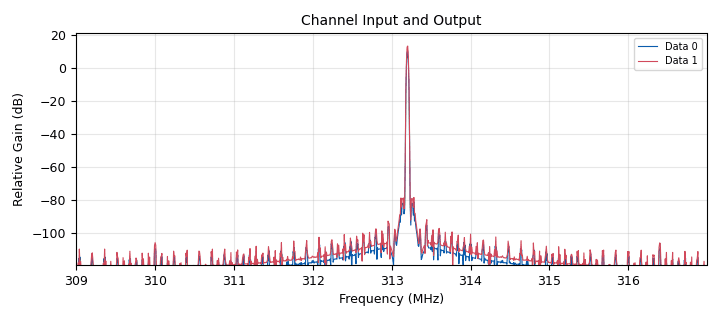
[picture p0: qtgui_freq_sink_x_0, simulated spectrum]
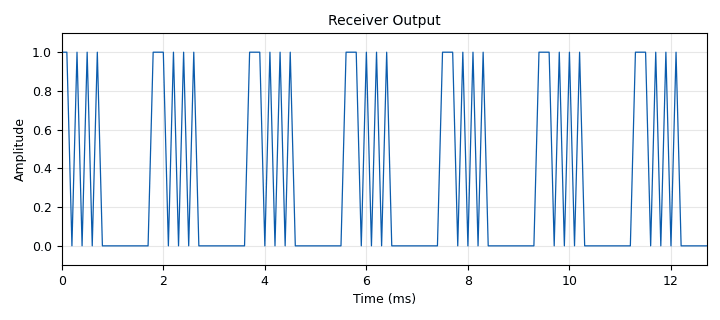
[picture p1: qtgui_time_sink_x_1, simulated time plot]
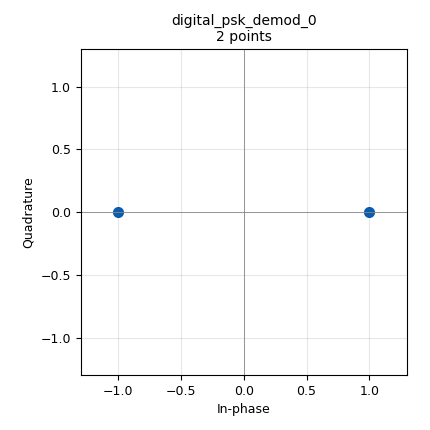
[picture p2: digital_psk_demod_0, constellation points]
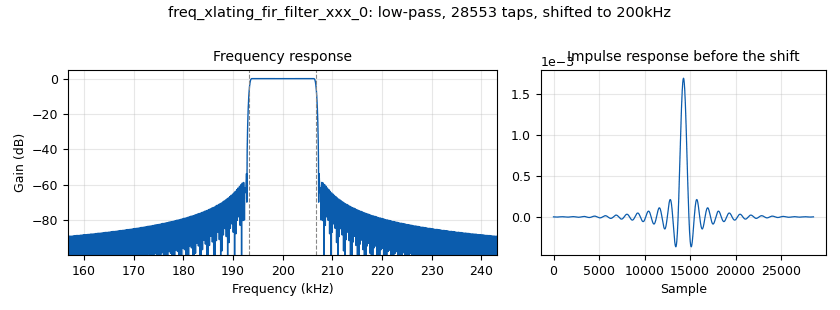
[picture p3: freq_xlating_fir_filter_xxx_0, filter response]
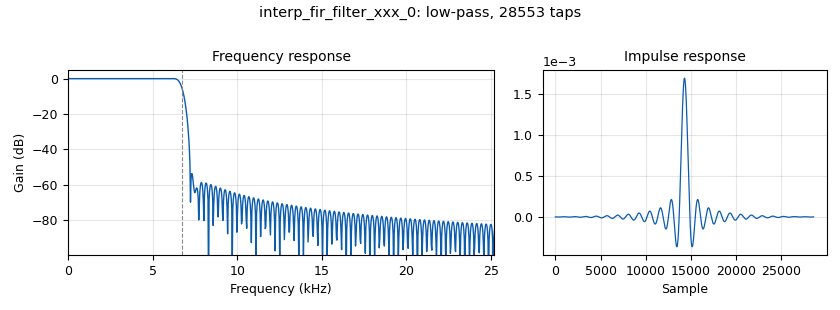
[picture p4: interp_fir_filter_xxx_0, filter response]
<?xml version='1.0' encoding='utf-8'?>
<?grc format='1' created='3.7.11'?>
<flow_graph>
<block>
<key>options</key>
<param><key>id</key><value>top_block</value></param>
<param><key>generate_options</key><value>qt_gui</value></param>
</block>
<block>
<key>variable</key>
<param><key>id</key><value>baseband_freq</value></param>
<param><key>value</key><value>10e3</value></param>
</block>
<block>
<key>variable</key>
<param><key>id</key><value>center_freq</value></param>
<param><key>value</key><value>313e6</value></param>
</block>
<block>
<key>variable</key>
<param><key>id</key><value>filter_cutoff</value></param>
<param><key>value</key><value>1.35*baseband_freq/2</value></param>
</block>
<block>
<key>variable</key>
<param><key>id</key><value>filter_transition</value></param>
<param><key>value</key><value>filter_cutoff*0.1</value></param>
</block>
<block>
<key>variable_qtgui_entry</key>
<param><key>id</key><value>freq</value></param>
<param><key>value</key><value>313.2e6</value></param>
<param><key>type</key><value>real</value></param>
</block>
<block>
<key>variable_qtgui_entry</key>
<param><key>id</key><value>freq_match</value></param>
<param><key>value</key><value>1</value></param>
<param><key>type</key><value>real</value></param>
</block>
<block>
<key>variable_qtgui_range</key>
<param><key>id</key><value>freq_offset</value></param>
<param><key>value</key><value>0</value></param>
<param><key>orient</key><value>Qt.Horizontal</value></param>
<param><key>start</key><value>-1</value></param>
<param><key>step</key><value>0.001</value></param>
<param><key>stop</key><value>1</value></param>
</block>
<block>
<key>variable_qtgui_range</key>
<param><key>id</key><value>noise</value></param>
<param><key>value</key><value>0</value></param>
<param><key>orient</key><value>Qt.Horizontal</value></param>
<param><key>start</key><value>0</value></param>
<param><key>step</key><value>100</value></param>
<param><key>stop</key><value>5000</value></param>
</block>
<block>
<key>variable</key>
<param><key>id</key><value>num_phase</value></param>
<param><key>value</key><value>2</value></param>
</block>
<block>
<key>variable</key>
<param><key>id</key><value>samp_per_symbol</value></param>
<param><key>value</key><value>8</value></param>
</block>
<block>
<key>variable</key>
<param><key>id</key><value>samp_rate</value></param>
<param><key>value</key><value>8e6</value></param>
</block>
<block>
<key>variable_qtgui_entry</key>
<param><key>id</key><value>sensitivity</value></param>
<param><key>value</key><value>math.pi/2</value></param>
<param><key>type</key><value>real</value></param>
</block>
<block>
<key>variable</key>
<param><key>id</key><value>working_samp_rate</value></param>
<param><key>value</key><value>baseband_freq*samp_per_symbol</value></param>
</block>
<block>
<key>analog_sig_source_x</key>
<param><key>id</key><value>analog_sig_source_x_0</value></param>
<param><key>amp</key><value>1e3</value></param>
<param><key>freq</key><value>freq-center_freq</value></param>
<param><key>offset</key><value>0</value></param>
<param><key>type</key><value>complex</value></param>
<param><key>samp_rate</key><value>samp_rate</value></param>
<param><key>waveform</key><value>analog.GR_COS_WAVE</value></param>
</block>
<block>
<key>blocks_file_sink</key>
<param><key>id</key><value>blocks_file_sink_0</value></param>
<param><key>file</key><value>/home/diane/repos/sdrgnuradio/dpsk/hackrfone/test.dat</value></param>
<param><key>type</key><value>byte</value></param>
<param><key>unbuffered</key><value>True</value></param>
</block>
<block>
<key>blocks_multiply_xx</key>
<param><key>id</key><value>blocks_multiply_xx_0</value></param>
<param><key>type</key><value>complex</value></param>
</block>
<block>
<key>blocks_throttle</key>
<param><key>id</key><value>blocks_throttle_0</value></param>
<param><key>samples_per_second</key><value>samp_rate</value></param>
<param><key>type</key><value>complex</value></param>
</block>
<block>
<key>blocks_uchar_to_float</key>
<param><key>id</key><value>blocks_uchar_to_float_0</value></param>
</block>
<block>
<key>blocks_unpacked_to_packed_xx</key>
<param><key>id</key><value>blocks_unpacked_to_packed_xx_0</value></param>
<param><key>bits_per_chunk</key><value>1</value></param>
<param><key>endianness</key><value>gr.GR_MSB_FIRST</value></param>
<param><key>type</key><value>byte</value></param>
</block>
<block>
<key>blocks_unpacked_to_packed_xx</key>
<param><key>id</key><value>blocks_unpacked_to_packed_xx_1</value></param>
<param><key>bits_per_chunk</key><value>8</value></param>
<param><key>endianness</key><value>gr.GR_MSB_FIRST</value></param>
<param><key>type</key><value>byte</value></param>
</block>
<block>
<key>blocks_vector_source_x</key>
<param><key>id</key><value>blocks_vector_source_x_0</value></param>
<param><key>type</key><value>byte</value></param>
<param><key>repeat</key><value>True</value></param>
<param><key>vector</key><value>(0, 1,1,1,0,1,0,1,0,1,0,0,0,0,0,0,0,0,0)</value></param>
</block>
<block>
<key>channels_channel_model</key>
<param><key>id</key><value>channels_channel_model_0</value></param>
<param><key>epsilon</key><value>freq_match</value></param>
<param><key>freq_offset</key><value>freq_offset</value></param>
<param><key>noise_voltage</key><value>noise</value></param>
<param><key>seed</key><value>0</value></param>
<param><key>taps</key><value>1.0 + 1.0j</value></param>
</block>
<block>
<key>digital_psk_demod</key>
<param><key>id</key><value>digital_psk_demod_0</value></param>
<param><key>differential</key><value>True</value></param>
<param><key>excess_bw</key><value>0.35</value></param>
<param><key>freq_bw</key><value>6.28/100.0</value></param>
<param><key>mod_code</key><value>"gray"</value></param>
<param><key>constellation_points</key><value>num_phase</value></param>
<param><key>phase_bw</key><value>6.28/100.0</value></param>
<param><key>samples_per_symbol</key><value>samp_per_symbol</value></param>
<param><key>timing_bw</key><value>6.28/100.0</value></param>
</block>
<block>
<key>digital_psk_mod</key>
<param><key>id</key><value>digital_psk_mod_0</value></param>
<param><key>differential</key><value>True</value></param>
<param><key>excess_bw</key><value>0.35</value></param>
<param><key>mod_code</key><value>"gray"</value></param>
<param><key>constellation_points</key><value>num_phase</value></param>
<param><key>samples_per_symbol</key><value>samp_per_symbol</value></param>
</block>
<block>
<key>freq_xlating_fir_filter_xxx</key>
<param><key>id</key><value>freq_xlating_fir_filter_xxx_0</value></param>
<param><key>center_freq</key><value>freq-center_freq</value></param>
<param><key>decim</key><value>int(samp_rate/working_samp_rate)</value></param>
<param><key>samp_rate</key><value>samp_rate</value></param>
<param><key>taps</key><value>firdes.low_pass(1,samp_rate,filter_cutoff,filter_transition)</value></param>
<param><key>type</key><value>ccc</value></param>
</block>
<block>
<key>import</key>
<param><key>id</key><value>import_0</value></param>
<param><key>comment</key><value>importing math for use of pi</value></param>
<param><key>import</key><value>import math</value></param>
</block>
<block>
<key>interp_fir_filter_xxx</key>
<param><key>id</key><value>interp_fir_filter_xxx_0</value></param>
<param><key>interp</key><value>int(samp_rate/working_samp_rate)</value></param>
<param><key>taps</key><value>firdes.low_pass(1,samp_rate,filter_cutoff,filter_transition)</value></param>
<param><key>type</key><value>ccc</value></param>
</block>
<block>
<key>note</key>
<param><key>id</key><value>note_0</value></param>
</block>
<block>
<key>note</key>
<param><key>id</key><value>note_1</value></param>
</block>
<block>
<key>note</key>
<param><key>id</key><value>note_2</value></param>
<param><key>comment</key><value>Multiplying the input by the cosine causes a shift
in the frequency domain.

Example: Input is 1 kHz. Cosine is 2 kHz. 
The multiplication output results in a signal at
3 kHz. The 1 kHz signal is shifted to the right by the 
cosine frequency.

If the cosine frequency were negative, the input
signal would be shifted to the left.</value></param>
<param><key>note</key><value>Why Multiply?</value></param>
</block>
<block>
<key>qtgui_freq_sink_x</key>
<param><key>id</key><value>qtgui_freq_sink_x_0</value></param>
<param><key>autoscale</key><value>True</value></param>
<param><key>bw</key><value>samp_rate</value></param>
<param><key>fc</key><value>center_freq</value></param>
<param><key>fftsize</key><value>1024</value></param>
<param><key>label2</key><value></value></param>
<param><key>name</key><value>"Channel Input and Output"</value></param>
<param><key>nconnections</key><value>2</value></param>
<param><key>showports</key><value>True</value></param>
<param><key>type</key><value>complex</value></param>
<param><key>wintype</key><value>firdes.WIN_BLACKMAN_hARRIS</value></param>
</block>
<block>
<key>qtgui_time_sink_x</key>
<param><key>id</key><value>qtgui_time_sink_x_1</value></param>
<param><key>color1</key><value>"blue"</value></param>
<param><key>label1</key><value></value></param>
<param><key>name</key><value>"Receiver Output"</value></param>
<param><key>size</key><value>128</value></param>
<param><key>srate</key><value>baseband_freq</value></param>
<param><key>type</key><value>float</value></param>
<param><key>ymax</key><value>1.1</value></param>
<param><key>ymin</key><value>-0.1</value></param>
</block>
<block>
<key>qtgui_time_sink_x</key>
<param><key>id</key><value>qtgui_time_sink_x_2</value></param>
<param><key>_enabled</key><value>0</value></param>
<param><key>color1</key><value>"blue"</value></param>
<param><key>label1</key><value></value></param>
<param><key>name</key><value>"Demodulator Output"</value></param>
<param><key>size</key><value>1024</value></param>
<param><key>srate</key><value>working_samp_rate</value></param>
<param><key>type</key><value>float</value></param>
<param><key>ymax</key><value>4</value></param>
<param><key>ymin</key><value>-4</value></param>
</block>
<block>
<key>qtgui_time_sink_x</key>
<param><key>id</key><value>qtgui_time_sink_x_3</value></param>
<param><key>_enabled</key><value>0</value></param>
<param><key>color1</key><value>"blue"</value></param>
<param><key>label1</key><value></value></param>
<param><key>color2</key><value>"red"</value></param>
<param><key>label2</key><value></value></param>
<param><key>color3</key><value>"green"</value></param>
<param><key>label3</key><value></value></param>
<param><key>color4</key><value>"black"</value></param>
<param><key>label4</key><value></value></param>
<param><key>name</key><value>"Channel Model Input and Output"</value></param>
<param><key>nconnections</key><value>2</value></param>
<param><key>size</key><value>256</value></param>
<param><key>srate</key><value>samp_rate</value></param>
<param><key>type</key><value>complex</value></param>
<param><key>ymax</key><value>3000</value></param>
<param><key>ymin</key><value>-3000</value></param>
</block>
<connection><source_block_id>analog_sig_source_x_0</source_block_id><sink_block_id>blocks_throttle_0</sink_block_id><source_key>0</source_key><sink_key>0</sink_key></connection>
<connection><source_block_id>blocks_multiply_xx_0</source_block_id><sink_block_id>channels_channel_model_0</sink_block_id><source_key>0</source_key><sink_key>0</sink_key></connection>
<connection><source_block_id>blocks_multiply_xx_0</source_block_id><sink_block_id>qtgui_freq_sink_x_0</sink_block_id><source_key>0</source_key><sink_key>0</sink_key></connection>
<connection><source_block_id>blocks_multiply_xx_0</source_block_id><sink_block_id>qtgui_time_sink_x_3</sink_block_id><source_key>0</source_key><sink_key>0</sink_key></connection>
<connection><source_block_id>blocks_throttle_0</source_block_id><sink_block_id>blocks_multiply_xx_0</sink_block_id><source_key>0</source_key><sink_key>1</sink_key></connection>
<connection><source_block_id>blocks_uchar_to_float_0</source_block_id><sink_block_id>qtgui_time_sink_x_1</sink_block_id><source_key>0</source_key><sink_key>0</sink_key></connection>
<connection><source_block_id>blocks_unpacked_to_packed_xx_0</source_block_id><sink_block_id>digital_psk_mod_0</sink_block_id><source_key>0</source_key><sink_key>0</sink_key></connection>
<connection><source_block_id>blocks_unpacked_to_packed_xx_1</source_block_id><sink_block_id>blocks_file_sink_0</sink_block_id><source_key>0</source_key><sink_key>0</sink_key></connection>
<connection><source_block_id>blocks_vector_source_x_0</source_block_id><sink_block_id>blocks_unpacked_to_packed_xx_0</sink_block_id><source_key>0</source_key><sink_key>0</sink_key></connection>
<connection><source_block_id>channels_channel_model_0</source_block_id><sink_block_id>freq_xlating_fir_filter_xxx_0</sink_block_id><source_key>0</source_key><sink_key>0</sink_key></connection>
<connection><source_block_id>channels_channel_model_0</source_block_id><sink_block_id>qtgui_freq_sink_x_0</sink_block_id><source_key>0</source_key><sink_key>1</sink_key></connection>
<connection><source_block_id>channels_channel_model_0</source_block_id><sink_block_id>qtgui_time_sink_x_3</sink_block_id><source_key>0</source_key><sink_key>1</sink_key></connection>
<connection><source_block_id>digital_psk_demod_0</source_block_id><sink_block_id>blocks_uchar_to_float_0</sink_block_id><source_key>0</source_key><sink_key>0</sink_key></connection>
<connection><source_block_id>digital_psk_demod_0</source_block_id><sink_block_id>blocks_unpacked_to_packed_xx_1</sink_block_id><source_key>0</source_key><sink_key>0</sink_key></connection>
<connection><source_block_id>digital_psk_mod_0</source_block_id><sink_block_id>interp_fir_filter_xxx_0</sink_block_id><source_key>0</source_key><sink_key>0</sink_key></connection>
<connection><source_block_id>freq_xlating_fir_filter_xxx_0</source_block_id><sink_block_id>digital_psk_demod_0</sink_block_id><source_key>0</source_key><sink_key>0</sink_key></connection>
<connection><source_block_id>interp_fir_filter_xxx_0</source_block_id><sink_block_id>blocks_multiply_xx_0</sink_block_id><source_key>0</source_key><sink_key>0</sink_key></connection>
</flow_graph>
